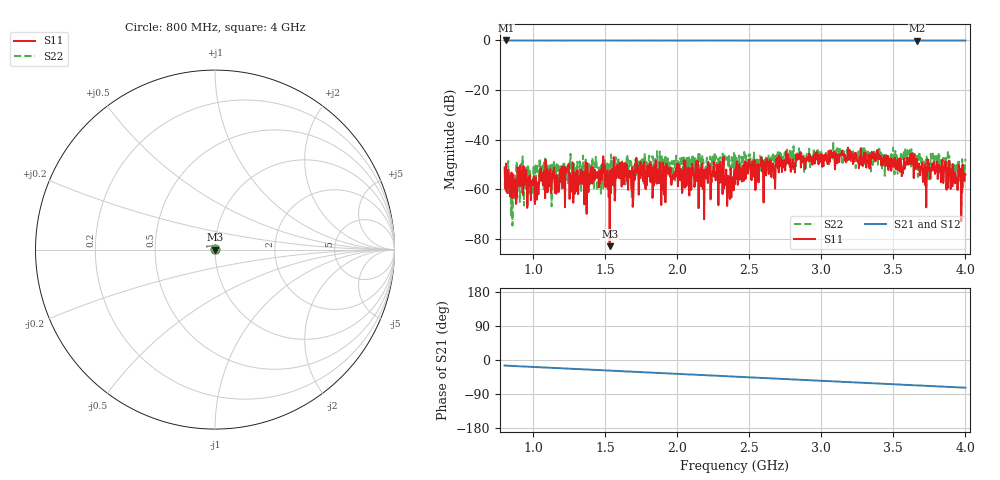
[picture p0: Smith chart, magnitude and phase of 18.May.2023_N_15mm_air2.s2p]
!Keysight Technologies N9950B: A.12.38
!Date: Thursday, 18 May 2023 16:45:51
!Timezone: (UTC-06:00) Central Time (US & Canada)
!Model: N9950B
!Serial: MY61131330
!GPS Latitude:
!GPS Longitude:
!GPS TimeStamp: 0001-01-01 00:00:00Z
!GPS Seconds Since Last Read: 0
!CHECKSUM:0041092214
!Correction: S11(ON U)S21(ON U)S12(ON U)S22(ON U)
!S2P File: Measurements:S11,S21,S12,S22:
# Hz S DB R 50
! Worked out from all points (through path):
!   1001 points, 800 MHz to 4 GHz, reference 50 ohm
!   highest |S21| = 0.01 dB at 809.6 MHz (marker M1); lowest = -0.1 dB at 3.664 GHz (marker M2)
!   group delay of S21, straight-line fit = 50.8 ps
!   lowest |S11| = -82.9 dB at 1.53 GHz (marker M3), VSWR 1.00, Z = 50 + j0.00544 ohm
!   |S11| at or under -10 dB: start of sweep to end of sweep
!   |S22| runs from -74.6 to -40.6 dB; largest |S21 - S12| = 0.0065
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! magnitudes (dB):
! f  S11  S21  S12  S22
! 800 MHz  -51.1  0.0  0.0  -58.3
! 809.6 MHz  -49.6  0.0  0.0  -52.6
! 860.8 MHz  -54.0  0.0  0.0  -62.9
! 886.4 MHz  -63.2  0.0  0.0  -50.9
! 905.6 MHz  -55.3  0.0  0.0  -65.1
! 1.024 GHz  -64.1  0.0  0.0  -52.9
! 1.334 GHz  -56.7  0.0  0.0  -55.9
! 1.482 GHz  -53.5  0.0  0.0  -52.6
! 1.53 GHz  -82.9  0.0  0.0  -56.7
! 1.594 GHz  -54.7  0.0  0.0  -51.0
! 1.68 GHz  -58.8  0.0  0.0  -49.5
! 1.712 GHz  -51.1  0.0  0.0  -52.8
! 1.869 GHz  -55.1  0.0  0.0  -53.1
! 2.266 GHz  -56.4  0.0  0.0  -46.4
! 2.358 GHz  -55.2  0.0  0.0  -46.5
! 2.4 GHz  -52.7  0.0  0.0  -46.3
! 2.934 GHz  -49.5  0.0  0.0  -46.6
! 3.469 GHz  -47.7  0.0  0.0  -49.3
! 3.664 GHz  -48.8  -0.1  0.0  -46.6
! 3.718 GHz  -49.8  0.0  0.0  -49.2
! 3.786 GHz  -52.4  0.0  0.0  -48.6
! 4 GHz  -54.0  0.0  -0.1  -47.6
